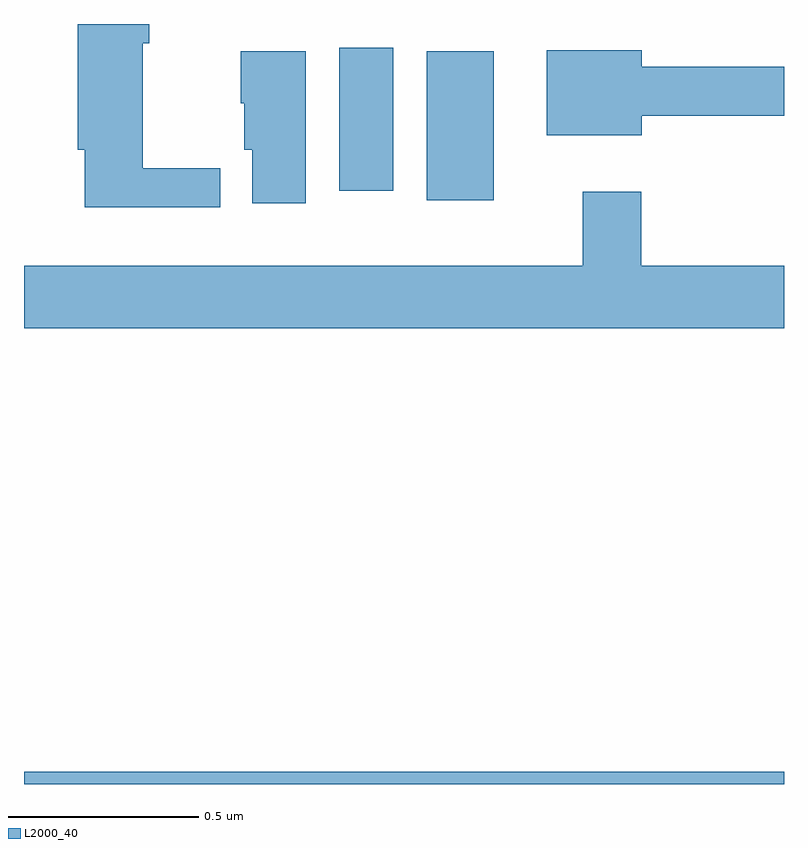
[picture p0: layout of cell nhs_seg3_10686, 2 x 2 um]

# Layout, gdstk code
import gdstk
lib = gdstk.Library(unit=1e-6, precision=1e-09)
def R(c, l, rs):  # rectangles x0, y0, x1, y1
    for r in rs: c.add(gdstk.rectangle(r[:2], r[2:], *l))
def P(c, l, *ps):  # polygons
    for p in ps: c.add(gdstk.Polygon(p, *l))
L2000_40 = (2000, 40)

nhs_seg3_10686 = lib.new_cell('nhs_seg3_10686')
R(nhs_seg3_10686, L2000_40, [(244,682.4,246,682.432), (245.06,683.936,245.236,684.328), (244.829,683.961,244.972,684.337)])
P(nhs_seg3_10686, L2000_40, [(244.516,684.02),(244.312,684.02),(244.312,684.35),(244.33,684.35),(244.33,684.4),(244.142,684.4),(244.142,684.069),(244.16,684.069),(244.16,683.918),(244.516,683.918)],
  [(245.626,684.159),(246,684.159),(246,684.287),(245.626,684.287),(245.626,684.331),(245.375,684.331),(245.375,684.107),(245.626,684.107)],
  [(244.741,684.328),(244.571,684.328),(244.571,684.192),(244.58,684.192),(244.58,684.069),(244.601,684.069),(244.601,683.928),(244.741,683.928)],
  [(246,683.764),(245.624,683.764),(245.624,683.959),(245.471,683.959),(245.471,683.764),(244,683.764),(244,683.6),(246,683.6)])

lib.write_gds('nhs_seg3_10686.gds')
